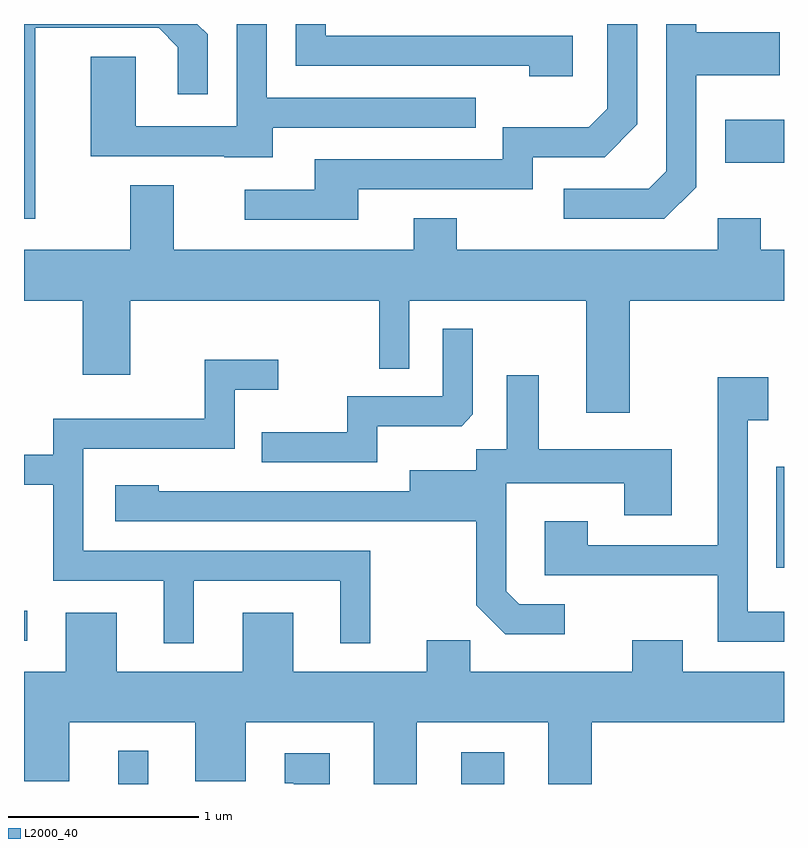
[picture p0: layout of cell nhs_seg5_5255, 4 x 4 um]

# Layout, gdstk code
import gdstk
lib = gdstk.Library(unit=1e-6, precision=1e-09)
def R(c, l, rs):  # rectangles x0, y0, x1, y1
    for r in rs: c.add(gdstk.rectangle(r[:2], r[2:], *l))
def P(c, l, *ps):  # polygons
    for p in ps: c.add(gdstk.Polygon(p, *l))
L2000_40 = (2000, 40)

nhs_seg5_5255 = lib.new_cell('nhs_seg5_5255')
R(nhs_seg5_5255, L2000_40, [(342.106,1412.072,342.264,1412.248), (343.911,1412.072,344.139,1412.239), (341.611,1412.826,341.628,1412.984), (345.571,1413.211,345.611,1413.743), (345.301,1415.341,345.611,1415.569)])
P(nhs_seg5_5255, L2000_40, [(344.499,1416.009),(343.199,1416.009),(343.199,1416.072),(343.041,1416.072),(343.041,1415.851),(344.271,1415.851),(344.271,1415.796),(344.499,1415.796)],
  [(342.919,1415.526),(343.988,1415.526),(343.988,1415.684),(342.889,1415.684),(342.889,1416.072),(342.731,1416.072),(342.731,1415.534),(342.199,1415.534),(342.199,1415.899),(341.961,1415.899),(341.961,1415.376),(342.665,1415.376),(342.665,1415.371),(342.919,1415.371)],
  [(341.669,1416.051),(342.319,1416.051),(342.421,1415.949),(342.421,1415.703),(342.579,1415.703),(342.579,1416.017),(342.524,1416.072),(341.611,1416.072),(341.611,1415.046),(341.669,1415.046)],
  [(345.149,1415.214),(345.149,1415.801),(345.589,1415.801),(345.589,1416.029),(345.149,1416.029),(345.149,1416.072),(344.991,1416.072),(344.991,1415.297),(344.899,1415.204),(344.453,1415.204),(344.453,1415.046),(344.982,1415.046)],
  [(343.369,1415.201),(344.289,1415.201),(344.289,1415.371),(344.667,1415.371),(344.839,1415.544),(344.839,1416.072),(344.681,1416.072),(344.681,1415.627),(344.584,1415.529),(344.131,1415.529),(344.131,1415.359),(343.141,1415.359),(343.141,1415.199),(342.773,1415.199),(342.773,1415.041),(343.369,1415.041)],
  [(344.799,1414.616),(345.611,1414.616),(345.611,1414.884),(345.489,1414.884),(345.489,1415.049),(345.261,1415.049),(345.261,1414.884),(343.889,1414.884),(343.889,1415.049),(343.661,1415.049),(343.661,1414.884),(342.399,1414.884),(342.399,1415.224),(342.171,1415.224),(342.171,1414.884),(341.611,1414.884),(341.611,1414.616),(341.921,1414.616),(341.921,1414.226),(342.169,1414.226),(342.169,1414.616),(343.481,1414.616),(343.481,1414.258),(343.639,1414.258),(343.639,1414.616),(344.571,1414.616),(344.571,1414.026),(344.799,1414.026)],
  [(343.469,1413.956),(343.914,1413.956),(343.974,1414.017),(343.974,1414.468),(343.816,1414.468),(343.816,1414.114),(343.311,1414.114),(343.311,1413.924),(342.863,1413.924),(342.863,1413.766),(343.469,1413.766)],
  [(342.504,1413.141),(343.276,1413.141),(343.276,1412.813),(343.434,1412.813),(343.434,1413.299),(341.924,1413.299),(341.924,1413.836),(342.719,1413.836),(342.719,1414.146),(342.948,1414.146),(342.948,1414.304),(342.561,1414.304),(342.561,1413.994),(341.766,1413.994),(341.766,1413.804),(341.611,1413.804),(341.611,1413.646),(341.766,1413.646),(341.766,1413.141),(342.346,1413.141),(342.346,1412.813),(342.504,1412.813)],
  [(344.458,1413.019),(344.217,1413.019),(344.149,1413.087),(344.149,1413.656),(344.771,1413.656),(344.771,1413.486),(345.019,1413.486),(345.019,1413.834),(344.319,1413.834),(344.319,1414.223),(344.151,1414.223),(344.151,1413.834),(343.991,1413.834),(343.991,1413.724),(343.641,1413.724),(343.641,1413.614),(342.319,1413.614),(342.319,1413.644),(342.091,1413.644),(342.091,1413.456),(343.991,1413.456),(343.991,1413.014),(344.144,1412.861),(344.458,1412.861)],
  [(345.611,1412.979),(345.419,1412.979),(345.419,1413.986),(345.529,1413.986),(345.529,1414.214),(345.261,1414.214),(345.261,1413.329),(344.579,1413.329),(344.579,1413.454),(344.351,1413.454),(344.351,1413.171),(345.261,1413.171),(345.261,1412.821),(345.611,1412.821)],
  [(343.679,1412.396),(344.371,1412.396),(344.371,1412.072),(344.599,1412.072),(344.599,1412.396),(345.611,1412.396),(345.611,1412.664),(345.079,1412.664),(345.079,1412.829),(344.811,1412.829),(344.811,1412.664),(343.959,1412.664),(343.959,1412.829),(343.731,1412.829),(343.731,1412.664),(343.029,1412.664),(343.029,1412.974),(342.761,1412.974),(342.761,1412.664),(342.099,1412.664),(342.099,1412.974),(341.831,1412.974),(341.831,1412.664),(341.611,1412.664),(341.611,1412.086),(341.849,1412.086),(341.849,1412.396),(342.511,1412.396),(342.511,1412.086),(342.779,1412.086),(342.779,1412.396),(343.451,1412.396),(343.451,1412.072),(343.679,1412.072)],
  [(343.219,1412.234),(342.983,1412.234),(342.983,1412.076),(343.031,1412.076),(343.031,1412.072),(343.219,1412.072)])

lib.write_gds('nhs_seg5_5255.gds')
